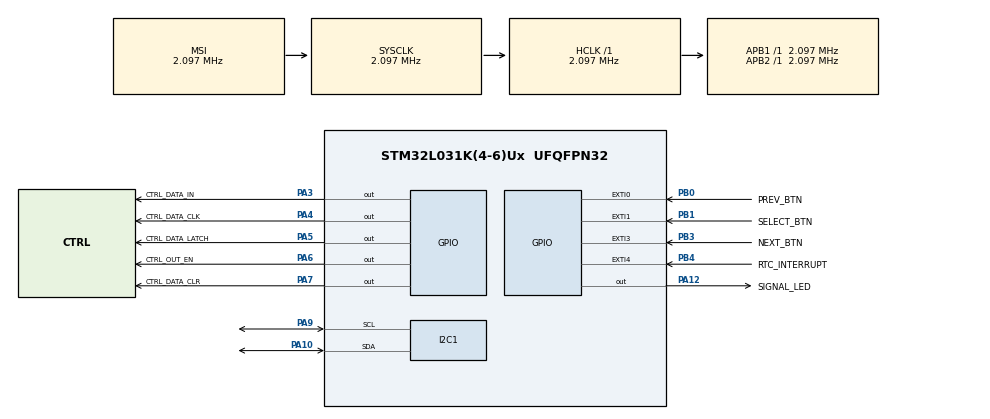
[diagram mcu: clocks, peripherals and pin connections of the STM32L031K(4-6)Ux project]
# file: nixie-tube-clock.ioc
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Mcu.Family=STM32L0
Mcu.Name=STM32L031K(4-6)Ux
Mcu.Package=UFQFPN32
NVIC.EXTI0_1_IRQn=true\:0\:0\:false\:false\:true\:true\:true
NVIC.EXTI2_3_IRQn=true\:0\:0\:false\:false\:true\:true\:true
PA10.Mode=I2C
PA10.Signal=I2C1_SDA
PA12.GPIO_Label=SIGNAL_LED
PA12.Signal=GPIO_Output
PA13.Mode=Serial_Wire
PA13.Signal=SYS_SWDIO
PA14.Mode=Serial_Wire
PA14.Signal=SYS_SWCLK
PA3.GPIO_Label=CTRL_DATA_IN
PA3.Signal=GPIO_Output
PA4.GPIO_Label=CTRL_DATA_CLK
PA4.Signal=GPIO_Output
PA5.GPIO_Label=CTRL_DATA_LATCH
PA5.Signal=GPIO_Output
PA6.GPIO_Label=CTRL_OUT_EN
PA6.Signal=GPIO_Output
PA7.GPIO_Label=CTRL_DATA_CLR
PA7.Signal=GPIO_Output
PA9.Mode=I2C
PA9.Signal=I2C1_SCL
PB0.GPIO_Label=PREV_BTN
PB0.Signal=GPXTI0
PB1.GPIO_Label=SELECT_BTN
PB1.Signal=GPXTI1
PB3.GPIO_Label=NEXT_BTN
PB3.Signal=GPXTI3
PB4.GPIO_Label=RTC_INTERRUPT
PB4.Signal=GPXTI4
ProjectManager.HeapSize=0x200
ProjectManager.StackSize=0x400
ProjectManager.TargetToolchain=STM32CubeIDE
RCC.AHBFreq_Value=2097000
RCC.APB1Freq_Value=2097000
RCC.APB1TimFreq_Value=2097000
RCC.APB2Freq_Value=2097000
RCC.APB2TimFreq_Value=2097000
RCC.HSE_VALUE=8000000
RCC.HSI16_VALUE=16000000
RCC.HSI_VALUE=16000000
RCC.LSE_VALUE=32768
RCC.MSI_VALUE=2097000
RCC.SYSCLKFreq_VALUE=2097000
RCC.VCOOutputFreq_Value=48000000
board=custom

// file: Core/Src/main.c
/* USER CODE BEGIN Header */
/**
  ******************************************************************************
  * @file           : main.c
  * @brief          : Main program body
  ******************************************************************************
  * @attention
  *
  * Copyright (c) 2021 STMicroelectronics.
  * All rights reserved.
  *
  * This software is licensed under terms that can be found in the LICENSE file
  * in the root directory of this software component.
  * If no LICENSE file comes with this software, it is provided AS-IS.
  *
  ******************************************************************************
  */
/* USER CODE END Header */
#include "main.h"

/* USER CODE BEGIN Includes */
#include "display.h"
#include "ds1338z.h"
/* USER CODE END Includes */

I2C_HandleTypeDef hi2c1;

void SystemClock_Config(void);
static void MX_GPIO_Init(void);
static void MX_I2C1_Init(void);

int main(void)
{

  /* MCU Configuration--------------------------------------------------------*/

  /* Reset of all peripherals, Initializes the Flash interface and the Systick. */
  HAL_Init();

  /* Configure the system clock */
  SystemClock_Config();

  /* Initialize all configured peripherals */
  MX_GPIO_Init();
  MX_I2C1_Init();
  /* USER CODE BEGIN 2 */
  display_init();
  /* USER CODE END 2 */

  /* Infinite loop */
  /* USER CODE BEGIN WHILE */

  DS1338Z_time time = {0};

  DS1338Z_readTime(&hi2c1, &time);

  time.mode = H24;

  DS1338Z_writeTime(&hi2c1, &time);

  uint32_t tick = 0;
  uint8_t lockButton = 0;
  uint8_t selectMode = 0;

  while (1) {
    /* USER CODE END WHILE */

    /* USER CODE BEGIN 3 */

	if (tick % 200 == 0) {
		DS1338Z_readTime(&hi2c1, &time);
		display_showTime(time.hour, time.minute);
	}

	if (!lockButton) {
		uint8_t flip;

		if (HAL_GPIO_ReadPin(PREV_BTN_GPIO_Port, PREV_BTN_Pin)) {
			if (selectMode) {
				time.hour = time.hour == 0 ? 23 : (time.hour - 1);
			} else {
				flip = time.minute == 0;

				if (flip) {
					time.minute = 59;
					time.hour = time.hour == 0 ? 23 : (time.hour - 1);
				} else {
					time.minute = time.minute - 1;
				}
			}

			time.second = 0;

			lockButton = 1;
			DS1338Z_writeTime(&hi2c1, &time);
		} else if (HAL_GPIO_ReadPin(SELECT_BTN_GPIO_Port, SELECT_BTN_Pin)) {
			selectMode = selectMode == 1 ? 0 : 1;
			lockButton = 1;
		} else if (HAL_GPIO_ReadPin(NEXT_BTN_GPIO_Port, NEXT_BTN_Pin)) {
			if (selectMode) {
				time.hour = time.hour == 23 ? 0 : (time.hour + 1);
			} else {
				flip = time.minute == 59;

				if (flip) {
					time.minute = 0;
					time.hour = time.hour == 23 ? 0 : (time.hour + 1);
				} else {
					time.minute = time.minute + 1;
				}
			}

			time.second = 0;

			lockButton = 1;
			DS1338Z_writeTime(&hi2c1, &time);
		}
	} else if (tick % 300 == 0) {
		lockButton = 0;
	}

	HAL_Delay(1);
	tick++;
  }
  /* USER CODE END 3 */
}

void SystemClock_Config(void)
{
  RCC_OscInitTypeDef RCC_OscInitStruct = {0};
  RCC_ClkInitTypeDef RCC_ClkInitStruct = {0};
  RCC_PeriphCLKInitTypeDef PeriphClkInit = {0};

  /** Configure the main internal regulator output voltage
  */
  __HAL_PWR_VOLTAGESCALING_CONFIG(PWR_REGULATOR_VOLTAGE_SCALE1);
  /** Initializes the RCC Oscillators according to the specified parameters
  * in the RCC_OscInitTypeDef structure.
  */
  RCC_OscInitStruct.OscillatorType = RCC_OSCILLATORTYPE_MSI;
  RCC_OscInitStruct.MSIState = RCC_MSI_ON;
  RCC_OscInitStruct.MSICalibrationValue = 0;
  RCC_OscInitStruct.MSIClockRange = RCC_MSIRANGE_5;
  RCC_OscInitStruct.PLL.PLLState = RCC_PLL_NONE;
  if (HAL_RCC_OscConfig(&RCC_OscInitStruct) != HAL_OK)
  {
    Error_Handler();
  }
  /** Initializes the CPU, AHB and APB buses clocks
  */
  RCC_ClkInitStruct.ClockType = RCC_CLOCKTYPE_HCLK|RCC_CLOCKTYPE_SYSCLK
                              |RCC_CLOCKTYPE_PCLK1|RCC_CLOCKTYPE_PCLK2;
  RCC_ClkInitStruct.SYSCLKSource = RCC_SYSCLKSOURCE_MSI;
  RCC_ClkInitStruct.AHBCLKDivider = RCC_SYSCLK_DIV1;
  RCC_ClkInitStruct.APB1CLKDivider = RCC_HCLK_DIV1;
  RCC_ClkInitStruct.APB2CLKDivider = RCC_HCLK_DIV1;

  if (HAL_RCC_ClockConfig(&RCC_ClkInitStruct, FLASH_LATENCY_0) != HAL_OK)
  {
    Error_Handler();
  }
  PeriphClkInit.PeriphClockSelection = RCC_PERIPHCLK_I2C1;
  PeriphClkInit.I2c1ClockSelection = RCC_I2C1CLKSOURCE_PCLK1;
  if (HAL_RCCEx_PeriphCLKConfig(&PeriphClkInit) != HAL_OK)
  {
    Error_Handler();
  }
}

static void MX_I2C1_Init(void)
{

  hi2c1.Instance = I2C1;
  hi2c1.Init.Timing = 0x00000708;
  hi2c1.Init.OwnAddress1 = 0;
  hi2c1.Init.AddressingMode = I2C_ADDRESSINGMODE_7BIT;
  hi2c1.Init.DualAddressMode = I2C_DUALADDRESS_DISABLE;
  hi2c1.Init.OwnAddress2 = 0;
  hi2c1.Init.OwnAddress2Masks = I2C_OA2_NOMASK;
  hi2c1.Init.GeneralCallMode = I2C_GENERALCALL_DISABLE;
  hi2c1.Init.NoStretchMode = I2C_NOSTRETCH_DISABLE;
  if (HAL_I2C_Init(&hi2c1) != HAL_OK)
  {
    Error_Handler();
  }
  /** Configure Analogue filter
  */
  if (HAL_I2CEx_ConfigAnalogFilter(&hi2c1, I2C_ANALOGFILTER_ENABLE) != HAL_OK)
  {
    Error_Handler();
  }
  /** Configure Digital filter
  */
  if (HAL_I2CEx_ConfigDigitalFilter(&hi2c1, 0) != HAL_OK)
  {
    Error_Handler();
  }

}

static void MX_GPIO_Init(void)
{
  GPIO_InitTypeDef GPIO_InitStruct = {0};

  /* GPIO Ports Clock Enable */
  __HAL_RCC_GPIOA_CLK_ENABLE();
  __HAL_RCC_GPIOB_CLK_ENABLE();

  /*Configure GPIO pin Output Level */
  HAL_GPIO_WritePin(GPIOA, CTRL_DATA_IN_Pin|CTRL_DATA_CLK_Pin|CTRL_DATA_LATCH_Pin|CTRL_OUT_EN_Pin
                          |CTRL_DATA_CLR_Pin|SIGNAL_LED_Pin, GPIO_PIN_RESET);

  /*Configure GPIO pins : CTRL_DATA_IN_Pin CTRL_DATA_CLK_Pin CTRL_DATA_LATCH_Pin CTRL_OUT_EN_Pin
                           CTRL_DATA_CLR_Pin SIGNAL_LED_Pin */
  GPIO_InitStruct.Pin = CTRL_DATA_IN_Pin|CTRL_DATA_CLK_Pin|CTRL_DATA_LATCH_Pin|CTRL_OUT_EN_Pin
                          |CTRL_DATA_CLR_Pin|SIGNAL_LED_Pin;
  GPIO_InitStruct.Mode = GPIO_MODE_OUTPUT_PP;
  GPIO_InitStruct.Pull = GPIO_NOPULL;
  GPIO_InitStruct.Speed = GPIO_SPEED_FREQ_LOW;
  HAL_GPIO_Init(GPIOA, &GPIO_InitStruct);

  /*Configure GPIO pins : PREV_BTN_Pin SELECT_BTN_Pin NEXT_BTN_Pin RTC_INTERRUPT_Pin */
  GPIO_InitStruct.Pin = PREV_BTN_Pin|SELECT_BTN_Pin|NEXT_BTN_Pin|RTC_INTERRUPT_Pin;
  GPIO_InitStruct.Mode = GPIO_MODE_IT_RISING;
  GPIO_InitStruct.Pull = GPIO_NOPULL;
  HAL_GPIO_Init(GPIOB, &GPIO_InitStruct);

  /* EXTI interrupt init*/
  HAL_NVIC_SetPriority(EXTI0_1_IRQn, 0, 0);
  HAL_NVIC_EnableIRQ(EXTI0_1_IRQn);

  HAL_NVIC_SetPriority(EXTI2_3_IRQn, 0, 0);
  HAL_NVIC_EnableIRQ(EXTI2_3_IRQn);

}

void Error_Handler(void)
{
  __disable_irq();
  while (1)
  {
  }
}
